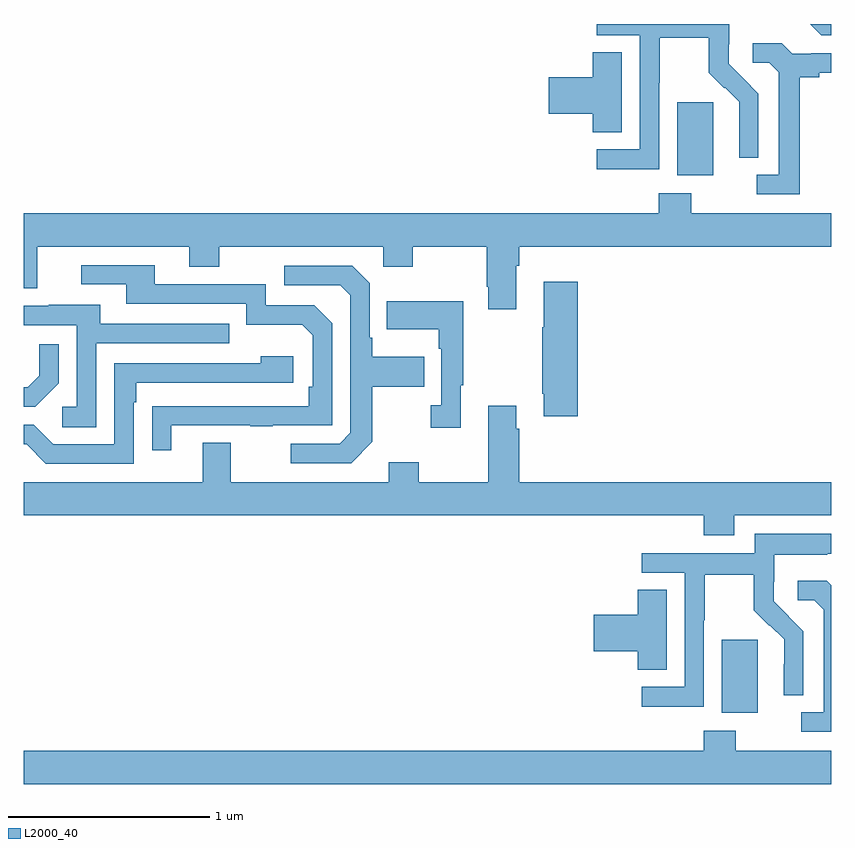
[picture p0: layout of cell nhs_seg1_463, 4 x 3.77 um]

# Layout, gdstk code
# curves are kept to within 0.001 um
import gdstk
lib = gdstk.Library(unit=1e-6, precision=1e-09)
def R(c, l, rs):  # rectangles x0, y0, x1, y1
    for r in rs: c.add(gdstk.rectangle(r[:2], r[2:], *l))
def P(c, l, *ps):  # polygons
    for p in ps: c.add(gdstk.Polygon(p, *l))
L2000_40 = (2000, 40)

nhs_seg1_463 = lib.new_cell('nhs_seg1_463')
R(nhs_seg1_463, L2000_40, [(140.459,518.786,140.638,519.147), (140.237,521.45,140.416,521.811)])
P(nhs_seg1_463, L2000_40, [(141,522.199),(140.897,522.199),(140.952,522.144),(141,522.144)],
  [(140.148,521.908),(140.151,521.908),(140.151,522.132),(140.395,522.132),(140.395,521.957),(140.472,521.88),(140.475,521.883),(140.546,521.813),(140.546,521.69),(140.544,521.69),(140.544,521.536),(140.64,521.536),(140.64,521.854),(140.494,522.002),(140.494,522.099),(140.496,522.099),(140.496,522.199),(139.839,522.199),(139.839,522.144),(140.052,522.144),(140.052,521.577),(139.839,521.577),(139.839,521.479),(140.148,521.479)],
  [(140.845,521.936),(140.941,521.936),(140.941,521.958),(141,521.958),(141,522.054),(140.902,522.054),(140.902,522.051),(140.808,522.051),(140.756,522.103),(140.613,522.103),(140.613,522.006),(140.694,522.006),(140.741,521.959),(140.741,521.451),(140.631,521.451),(140.631,521.355),(140.845,521.355)],
  [(139.963,522.059),(139.82,522.059),(139.82,521.936),(139.602,521.936),(139.602,521.753),(139.82,521.753),(139.82,521.662),(139.963,521.662)],
  [(139.441,521),(139.454,521),(139.454,521.096),(141,521.096),(141,521.26),(140.307,521.26),(140.307,521.359),(140.147,521.359),(140.147,521.26),(137,521.26),(137,520.888),(137.065,520.888),(137.065,521.096),(137.819,521.096),(137.819,520.997),(137.967,520.997),(137.967,521.096),(138.78,521.096),(138.78,520.997),(138.927,520.997),(138.927,521.096),(139.294,521.096),(139.294,520.897),(139.301,520.897),(139.301,520.785),(139.441,520.785)],
  [(137.731,520.209),(138.121,520.209),(138.121,520.204),(138.233,520.204),(138.233,520.209),(138.528,520.209),(138.528,520.716),(138.438,520.806),(138.198,520.806),(138.198,520.908),(137.647,520.908),(137.647,521.004),(137.283,521.004),(137.283,520.908),(137.507,520.908),(137.507,520.812),(138.102,520.812),(138.102,520.709),(138.379,520.709),(138.432,520.656),(138.432,520.402),(138.412,520.402),(138.412,520.305),(137.635,520.304),(137.635,520.086),(137.731,520.086)],
  [(138.727,520.129),(138.727,520.402),(138.983,520.402),(138.983,520.549),(138.727,520.549),(138.727,520.645),(138.714,520.645),(138.714,520.914),(138.627,521.001),(138.291,521.001),(138.291,520.905),(138.567,520.905),(138.618,520.854),(138.618,520.173),(138.564,520.119),(138.321,520.119),(138.321,520.023),(138.621,520.023)],
  [(139.745,520.921),(139.577,520.921),(139.577,520.697),(139.57,520.697),(139.57,520.366),(139.577,520.366),(139.577,520.254),(139.745,520.254)],
  [(139.165,520.409),(139.177,520.409),(139.177,520.825),(138.799,520.825),(138.799,520.685),(139.056,520.685),(139.056,520.589),(139.068,520.589),(139.068,520.31),(139.017,520.31),(139.017,520.197),(139.165,520.197)],
  [(137.358,520.617),(138.017,520.617),(138.017,520.713),(137.377,520.713),(137.377,520.807),(137.123,520.807),(137.123,520.803),(137,520.803),(137,520.707),(137.262,520.707),(137.262,520.302),(137.19,520.302),(137.19,520.201),(137.358,520.201)],
  [(137.172,520.418),(137.172,520.612),(137.075,520.612),(137.075,520.455),(137.018,520.398),(137,520.398),(137,520.302),(137.056,520.302)],
  [(137.544,520.325),(137.557,520.325),(137.557,520.422),(138.334,520.422),(138.334,520.552),(138.173,520.552),(138.173,520.518),(137.448,520.518),(137.448,520.116),(137.145,520.116),(137.049,520.212),(137,520.212),(137,520.116),(137.013,520.116),(137.109,520.02),(137.544,520.02)],
  [(140.521,519.764),(141,519.764),(141,519.928),(139.454,519.928),(139.454,520.193),(139.441,520.193),(139.441,520.306),(139.301,520.306),(139.301,519.928),(138.957,519.928),(138.957,520.027),(138.809,520.027),(138.809,519.928),(138.025,519.928),(138.025,520.123),(137.885,520.123),(137.885,519.928),(137,519.928),(137,519.764),(140.369,519.764),(140.369,519.665),(140.521,519.665)],
  [(140.37,519.244),(140.373,519.244),(140.373,519.468),(140.617,519.468),(140.617,519.293),(140.694,519.216),(140.697,519.219),(140.768,519.149),(140.768,519.026),(140.766,519.026),(140.766,518.872),(140.862,518.872),(140.862,519.19),(140.716,519.338),(140.716,519.435),(140.718,519.435),(140.718,519.569),(140.981,519.569),(140.981,519.573),(141,519.573),(141,519.673),(140.622,519.673),(140.622,519.576),(140.061,519.576),(140.061,519.48),(140.274,519.48),(140.274,518.913),(140.061,518.913),(140.061,518.815),(140.37,518.815)],
  [(141,519.417),(140.978,519.439),(140.835,519.439),(140.835,519.342),(140.916,519.342),(140.963,519.295),(140.963,518.787),(140.853,518.787),(140.853,518.691),(141,518.691)],
  [(140.185,519.395),(140.042,519.395),(140.042,519.272),(139.824,519.272),(139.824,519.089),(140.042,519.089),(140.042,518.998),(140.185,518.998)],
  [(141,518.596),(140.529,518.596),(140.529,518.695),(140.369,518.695),(140.369,518.596),(137,518.596),(137,518.432),(141,518.432)])

lib.write_gds('nhs_seg1_463.gds')
